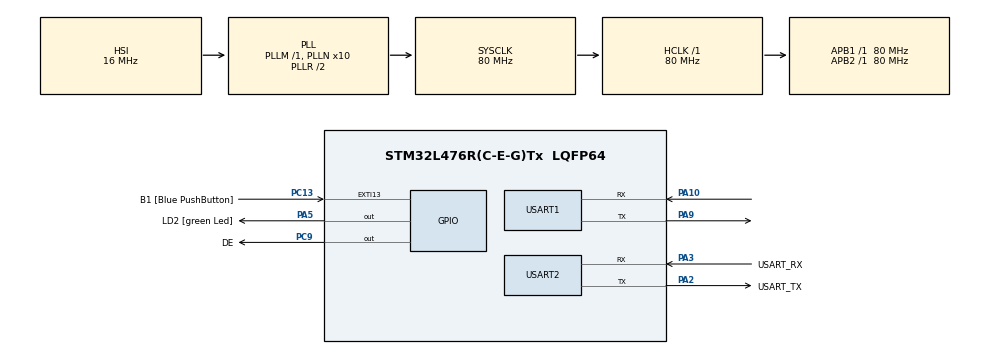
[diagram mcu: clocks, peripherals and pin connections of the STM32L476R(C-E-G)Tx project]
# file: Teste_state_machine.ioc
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Mcu.Family=STM32L4
Mcu.Name=STM32L476R(C-E-G)Tx
Mcu.Package=LQFP64
NVIC.PriorityGroup=NVIC_PRIORITYGROUP_4
NVIC.USART1_IRQn=true\:0\:0\:false\:false\:true\:true\:true\:true
NVIC.USART2_IRQn=true\:0\:0\:false\:false\:true\:true\:true\:true
PA10.Mode=Asynchronous
PA10.Signal=USART1_RX
PA13\ (JTMS-SWDIO).GPIO_Label=TMS
PA13\ (JTMS-SWDIO).Mode=Serial_Wire
PA13\ (JTMS-SWDIO).Signal=SYS_JTMS-SWDIO
PA14\ (JTCK-SWCLK).GPIO_Label=TCK
PA14\ (JTCK-SWCLK).Mode=Serial_Wire
PA14\ (JTCK-SWCLK).Signal=SYS_JTCK-SWCLK
PA2.GPIO_Label=USART_TX
PA2.GPIO_Mode=GPIO_MODE_AF_PP
PA2.GPIO_PuPd=GPIO_NOPULL
PA2.GPIO_Speed=GPIO_SPEED_FREQ_VERY_HIGH
PA2.Mode=Asynchronous
PA2.Signal=USART2_TX
PA3.GPIO_Label=USART_RX
PA3.GPIO_Mode=GPIO_MODE_AF_PP
PA3.GPIO_PuPd=GPIO_NOPULL
PA3.GPIO_Speed=GPIO_SPEED_FREQ_VERY_HIGH
PA3.Mode=Asynchronous
PA3.Signal=USART2_RX
PA5.GPIO_Label=LD2 [green Led]
PA5.GPIO_ModeDefaultOutputPP=GPIO_MODE_OUTPUT_PP
PA5.GPIO_PuPd=GPIO_NOPULL
PA5.GPIO_Speed=GPIO_SPEED_FREQ_LOW
PA5.Signal=GPIO_Output
PA9.Mode=Asynchronous
PA9.Signal=USART1_TX
PB3\ (JTDO-TRACESWO).GPIO_Label=SWO
PB3\ (JTDO-TRACESWO).Signal=SYS_JTDO-SWO
PC13.GPIO_Label=B1 [Blue PushButton]
PC13.GPIO_ModeDefaultEXTI=GPIO_MODE_IT_FALLING
PC13.GPIO_PuPd=GPIO_NOPULL
PC13.Signal=GPXTI13
PC14-OSC32_IN\ (PC14).Mode=LSE-External-Oscillator
PC14-OSC32_IN\ (PC14).Signal=RCC_OSC32_IN
PC15-OSC32_OUT\ (PC15).Mode=LSE-External-Oscillator
PC15-OSC32_OUT\ (PC15).Signal=RCC_OSC32_OUT
PC9.GPIO_Label=DE
PC9.Signal=GPIO_Output
PH0-OSC_IN\ (PH0).Signal=RCC_OSC_IN
PH1-OSC_OUT\ (PH1).Signal=RCC_OSC_OUT
ProjectManager.HeapSize=0x200
ProjectManager.StackSize=0x400
ProjectManager.TargetToolchain=STM32CubeIDE
RCC.ADCFreq_Value=64000000
RCC.AHBFreq_Value=80000000
RCC.APB1Freq_Value=80000000
RCC.APB1TimFreq_Value=80000000
RCC.APB2Freq_Value=80000000
RCC.APB2TimFreq_Value=80000000
RCC.CortexFreq_Value=80000000
RCC.HCLKFreq_Value=80000000
RCC.HSE_VALUE=8000000
RCC.HSI_VALUE=16000000
RCC.MSI_VALUE=4000000
RCC.PLLN=10
RCC.PLLSourceVirtual=RCC_PLLSOURCE_HSI
RCC.PREFETCH_ENABLE=1
RCC.SYSCLKFreq_VALUE=80000000
RCC.SYSCLKSource=RCC_SYSCLKSOURCE_PLLCLK
RCC.USBFreq_Value=64000000
RCC.VCOOutputFreq_Value=160000000
USART1.VirtualMode-Asynchronous=VM_ASYNC
USART2.VirtualMode-Asynchronous=VM_ASYNC
board=NUCLEO-L476RG

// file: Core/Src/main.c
/* USER CODE BEGIN Header */
/**
  ******************************************************************************
  * @file           : main.c
  * @brief          : Main program body
  ******************************************************************************
  * @attention
  *
  * Copyright (c) 2024 STMicroelectronics.
  * All rights reserved.
  *
  * This software is licensed under terms that can be found in the LICENSE file
  * in the root directory of this software component.
  * If no LICENSE file comes with this software, it is provided AS-IS.
  *
  ******************************************************************************
  */
/* USER CODE END Header */
#include "main.h"
#include "usart.h"
#include "gpio.h"

/* USER CODE BEGIN Includes */
/* ************************************************************************************ */
/* * Includes                                                                         * */
/* ************************************************************************************ */
/* CeNTI library. */
#include "../../Project/CeNTI_Library/lib/CeNTI_lib_includes.h"

/* Project defines. */
#include "../../Project/Defines/Project_defines.h"

/* Manager library. */
#include "../../Project/Manager/Manager.h"
/* USER CODE END Includes */

/* USER CODE BEGIN PD */
#ifdef __GNUC__
#define PUTCHAR_PROTOTYPE int __io_putchar(int ch)
#else
#define PUTCHAR_PROTOTYPE int fputc(int ch, FILE *f)
#endif

/* USER CODE END PD */

/* USER CODE BEGIN PM */
/* ************************************************************************************ */
/* * Safety check                                                                     * */
/* ************************************************************************************ */
#if ((!(defined(CENTI_ENABLE))) || \
     (!(defined(CENTI_DISABLE))))

    #error CENTI_ENABLE and/or CENTI_DISABLE not defined! Define the in Project/CeNTI/Defines/CeNTI_defines.h file!

#endif

/* USER CODE END PM */

/* USER CODE BEGIN PV */
/* ************************************************************************************ */
/* * Flags                                                                            * */
/* ************************************************************************************ */
/* Used for software reset. */
volatile t_FLAG f_soft_reset = FLAG_OFF;

/* ************************************************************************************ */
/* * Enumerations                                                                     * */
/* ************************************************************************************ */
/* Main states. */
typedef enum _enum_MAIN_states {
    MAIN_STATE_INIT_ERROR = 0   ,
    MAIN_STATE_INIT             ,
    MAIN_STATE_LOOP_ERROR       ,
    MAIN_STATE_LOOP             ,
    /* Add more states. */
    /* ... */
}et_MAIN_STATE;

/* ************************************************************************************ */
/* * Global Variables                                                                 * */
/* ************************************************************************************ */
/* Main state. */
static et_MAIN_STATE g_et_state = MAIN_STATE_INIT;

/* USER CODE END PV */

void SystemClock_Config(void);
/* USER CODE BEGIN PFP */
/* ************************************************************************************ */
/* * Main Functions Prototypes                                                        * */
/* ************************************************************************************ */
/*
 * @brief Initialize all the necessary peripheral and CeNTI devices.
 *
 * @param None.
 *
 * @return Indication if everything worked fine.
 * @retval RET_OK  - Everything worked fine.
 * @retval Other   - See et_RET.
 */
static et_RET Main__Initialize(void);

/*
 * @brief Function used to manage the loop flow.
 *
 * @param None.
 *
 * @return Indication if everything worked fine.
 * @retval RET_OK  - Everything worked fine.
 * @retval Other   - See et_RET.
 */
static et_RET Main__Loop(void);

/*
 * @brief Function used to check all the SoftTimers and enable its flag if its SoftTimer
 *          has elapsed.
 *
 * @param None.
 *
 * @return Indication if everything worked fine.
 * @retval RET_OK  - Everything worked fine.
 * @retval Other   - See et_RET.
 */
#if (defined(__CENTI_SOFTTIMER_IN_USE__))
    static void Main__CheckSoftTimers(void);
#endif

/* ************************************************************************************ */
/* * Private Functions Prototypes                                                     * */
/* ************************************************************************************ */
/*
 * @brief Function used to call the system device initialization function based on
 *          defines made on CeNTI/Defines/CeNTI.h file.
 *
 * @param None.
 *
 * @return Indication if everything worked fine.
 * @retval RET_OK  - Everything worked fine.
 * @retval Other   - See et_RET.
 */
static void Main__InitializeDevice(void);

/* USER CODE END PFP */

/* USER CODE BEGIN 0 */
PUTCHAR_PROTOTYPE
{
  HAL_UART_Transmit(&huart2, (uint8_t *)&ch, 1, HAL_MAX_DELAY);
  return ch;
}
/* USER CODE END 0 */

int main(void)
{

  /* MCU Configuration--------------------------------------------------------*/

  /* Reset of all peripherals, Initializes the Flash interface and the Systick. */
  HAL_Init();

  /* Configure the system clock */
  SystemClock_Config();

  /* Initialize all configured peripherals */
  MX_GPIO_Init();
  MX_USART2_UART_Init();
  MX_USART1_UART_Init();
  /* USER CODE BEGIN 2 */
  et_RET et_ret = RET_UNEXPECTED;

  /* Set initial state. */
  g_et_state = MAIN_STATE_INIT;

  /* USER CODE END 2 */

  /* Infinite loop */
  /* USER CODE BEGIN WHILE */
  while (1)
  {
	  switch (g_et_state)
	  {
      /* ********** Initialization error **************************************** */

      case MAIN_STATE_INIT_ERROR:

          CENTI_DEBUG__Error("Initialization failed!");
          CENTI_DEBUG__Info("Entering in an infinity loop!");

          /* Add code to handle the initialization error. */
          // ...

          while (1)
          {
              /* Stay here. */
          }

          break;

      /* ************************************************************************ */
      /* ********** Initialization ********************************************** */

      case MAIN_STATE_INIT:

          /* Initialize device. */
          et_ret = Main__Initialize();

          /* Add code if needed. */
          // ...

          /* If initialization was successfully complete, then go to loop state.
           * Otherwise, go to initialization error state. */
          if (RET_OK == et_ret)
          {
              g_et_state = MAIN_STATE_LOOP;
              break;
          }
          else
          {
              g_et_state = MAIN_STATE_INIT_ERROR;
              break;
          }

      /* ************************************************************************ */
      /* ********** Loop Error ************************************************** */

      case MAIN_STATE_LOOP_ERROR:

          CENTI_DEBUG__Error("Loop failed!");

          /* Add code to handle with a loop error. */
          // ...

          g_et_state = MAIN_STATE_LOOP;

      /* ************************************************************************ */
      /* ********** Loop ******************************************************** */

      case MAIN_STATE_LOOP:

          /* Go to initialization state to perform a soft reset. */
          if (FLAG_ON == f_soft_reset)
          {
              f_soft_reset = FLAG_OFF;

              CENTI_DEBUG__Warning("SoftReset!");

              g_et_state = MAIN_STATE_INIT;

              break;
          }

          /* Main Loop. */
          et_ret = Main__Loop();
          /* Check for any error. */
          if (RET_OK != et_ret)
          {
              g_et_state = MAIN_STATE_LOOP_ERROR;

              break;
          }

          /* Add code if needed. */
          // ...

          break;

      /* ************************************************************************ */
      /* ********** Default ***************************************************** */

      default:

          /* Reinitialize. */
          g_et_state = MAIN_STATE_INIT;

          break;

      /* ************************************************************************ */
	  }
    /* USER CODE END WHILE */

  }
}

void SystemClock_Config(void)
{
  RCC_OscInitTypeDef RCC_OscInitStruct = {0};
  RCC_ClkInitTypeDef RCC_ClkInitStruct = {0};

  /** Configure the main internal regulator output voltage
  */
  if (HAL_PWREx_ControlVoltageScaling(PWR_REGULATOR_VOLTAGE_SCALE1) != HAL_OK)
  {
    Error_Handler();
  }

  /** Initializes the RCC Oscillators according to the specified parameters
  * in the RCC_OscInitTypeDef structure.
  */
  RCC_OscInitStruct.OscillatorType = RCC_OSCILLATORTYPE_HSI;
  RCC_OscInitStruct.HSIState = RCC_HSI_ON;
  RCC_OscInitStruct.HSICalibrationValue = RCC_HSICALIBRATION_DEFAULT;
  RCC_OscInitStruct.PLL.PLLState = RCC_PLL_ON;
  RCC_OscInitStruct.PLL.PLLSource = RCC_PLLSOURCE_HSI;
  RCC_OscInitStruct.PLL.PLLM = 1;
  RCC_OscInitStruct.PLL.PLLN = 10;
  RCC_OscInitStruct.PLL.PLLP = RCC_PLLP_DIV7;
  RCC_OscInitStruct.PLL.PLLQ = RCC_PLLQ_DIV2;
  RCC_OscInitStruct.PLL.PLLR = RCC_PLLR_DIV2;
  if (HAL_RCC_OscConfig(&RCC_OscInitStruct) != HAL_OK)
  {
    Error_Handler();
  }

  /** Initializes the CPU, AHB and APB buses clocks
  */
  RCC_ClkInitStruct.ClockType = RCC_CLOCKTYPE_HCLK|RCC_CLOCKTYPE_SYSCLK
                              |RCC_CLOCKTYPE_PCLK1|RCC_CLOCKTYPE_PCLK2;
  RCC_ClkInitStruct.SYSCLKSource = RCC_SYSCLKSOURCE_PLLCLK;
  RCC_ClkInitStruct.AHBCLKDivider = RCC_SYSCLK_DIV1;
  RCC_ClkInitStruct.APB1CLKDivider = RCC_HCLK_DIV1;
  RCC_ClkInitStruct.APB2CLKDivider = RCC_HCLK_DIV1;

  if (HAL_RCC_ClockConfig(&RCC_ClkInitStruct, FLASH_LATENCY_4) != HAL_OK)
  {
    Error_Handler();
  }
}

/* USER CODE BEGIN 4 */
static et_RET Main__Initialize(void)
{
    et_RET et_ret      = RET_UNEXPECTED;
    int8_t num_retries = NUM_RETRIES;

    /* Initialize device. */
    Main__InitializeDevice();

    /* Initialize SoftTimer. */
    #if (defined(__CENTI_SOFTTIMER_IN_USE__))

        et_ret = SoftTimer__Initialize();
        CENTI_CHECK_RET(et_ret);

        /* Wait some time before initialize devices. */
        et_ret = SoftTimer__Delay_msec(DELAY_INIT_MS);
        CENTI_CHECK_RET(et_ret);

        CENTI_DEBUG__Info("SoftTimer initialization complete!");

    #endif

    do
    {
        /* Initialize Manager. */
        et_ret = Manager__Initialize();

        /* Check return. */
        if (et_ret != RET_OK)
        {
            /* Delay between retries. */
            #if (defined(__CENTI_SOFTTIMER_IN_USE__))
                SoftTimer__Delay_msec(DELAY_RETRY_MS);
            #endif

            /* Reduce the number of tries. */
            --num_retries;
        }
    }
    while ((et_ret != RET_OK) && (num_retries > 0));

    /* Check if return is not RET_OK. */
    CENTI_CHECK_RET(et_ret);

    CENTI_DEBUG__Info("Initialization complete!");

    return RET_OK;
}

static et_RET Main__Loop(void)
{
    et_RET et_ret = RET_UNEXPECTED;

    /* Check if any SoftTimer has occurred. */
    #if (defined(__CENTI_SOFTTIMER_IN_USE__))
        Main__CheckSoftTimers();
    #endif

    /* Perform the manager loop. */
    et_ret = Manager__Loop();
    CENTI_CHECK_RET(et_ret);

    /* Add code if needed. */
    // ...

    return RET_OK;
}

#if (defined(__CENTI_SOFTTIMER_IN_USE__))

    static void Main__CheckSoftTimers(void)
    {
        /* Add flags checks here. */
        for (uint8_t i=0; i<FLAGS_TOTAL; i++)
        {
            if (SOFTTIMER_ELAPSED_STATE_ELAPSED ==
                SoftTimer__Get_ElapsedState(ET_FLAG_SOFTTIMER_INSTANCES[i]))
            {
                *FLAGS[i] = FLAG_ON;
            }
        }
    }

#endif

/* ************************************************************************************ */
/* * Private Functions                                                                * */
/* ************************************************************************************ */
static void Main__InitializeDevice(void)
{
    #if (defined(__CENTI_CODE_CONFIGURATOR_MCC__))

        /* Initialize the device. */
        SYSTEM_Initialize();

        #if (CENTI_ENABLE_INTERRUPTS == CENTI_ENABLE)

            /* Enable global interrupts. */
            INTERRUPT_GlobalInterruptEnable();

        #else /* PROJECT_INTERRUPTS with wrong value. */

            /* Do nothing. */

        #endif /* PROJECT_INTERRUPTS */

	#elif (defined(__CENTI_CODE_CONFIGURATOR_MELODY__))

		/* Initialize the device. */
        SYSTEM_Initialize();

        #if (CENTI_ENABLE_INTERRUPTS == CENTI_ENABLE)

            /* Enable global interrupts. */
            INTERRUPT_GlobalInterruptEnable();

        #else

            /* Do nothing. */

        #endif

    #elif (defined(__CENTI_CODE_CONFIGURATOR_ATMEL_START__))

        /* Initialize the device. */
        atmel_start_init();

        #if (CENTI_ENABLE_INTERRUPTS == CENTI_ENABLE)

            /* Enable global interrupts. */
            ENABLE_INTERRUPTS();

        #else /* PROJECT_INTERRUPTS with wrong value. */

            /* Do nothing. */

        #endif /* PROJECT_INTERRUPTS */

    #elif (defined(__CENTI_CODE_CONFIGURATOR_HARMONY__))

		/* Initialize the device. */
		SYS_Initialize(NULL);

    #endif /* CENTI_CODE_CONFIGURATOR */
}
/* USER CODE END 4 */

void Error_Handler(void)
{
  __disable_irq();
  while (1)
  {
  }
}
